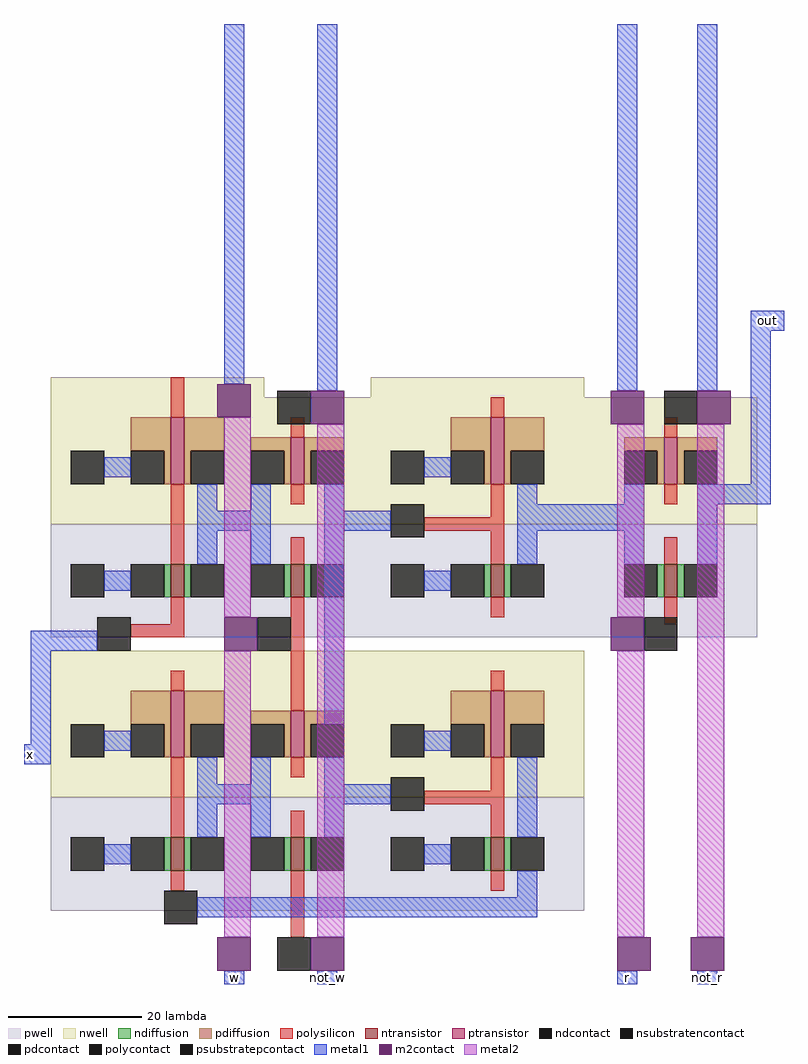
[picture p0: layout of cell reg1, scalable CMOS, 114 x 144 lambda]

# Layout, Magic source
magic
tech scmos
<< metal1 >>
rect 30 91 33 144
rect 44 91 47 144
rect 89 91 92 144
rect 101 91 104 144
rect 109 98 114 101
rect 109 72 112 98
rect 1 36 4 53
rect 0 33 4 36
rect 30 0 33 2
rect 44 0 47 2
rect 89 0 92 2
use reg  reg_0
transform 1 0 4 0 1 9
box 0 -9 106 82
<< labels >>
rlabel metal1 109 98 114 101 7 out
rlabel metal1 89 0 92 2 1 r
rlabel space 101 0 104 2 1 not_r
rlabel metal1 30 0 33 2 1 w
rlabel metal1 44 0 47 2 1 not_w
rlabel metal1 0 33 2 36 3 x
<< end >>

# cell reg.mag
magic
tech scmos
<< polysilicon >>
rect 18 78 20 82
rect 56 59 66 61
rect 18 45 20 47
rect 12 43 20 45
rect 36 40 38 47
rect 36 -2 38 1
<< polycontact >>
rect 34 75 39 80
rect 92 75 97 80
rect 51 58 56 63
rect 7 41 12 46
rect 31 41 36 46
rect 89 41 94 46
rect 34 -7 39 -2
<< metal1 >>
rect 26 81 29 82
rect 40 80 43 82
rect 85 80 88 82
rect 97 80 100 82
rect 97 63 106 66
rect 25 59 31 62
rect 44 59 51 62
rect 73 59 87 63
rect 0 41 7 44
rect 41 41 44 55
rect 26 -9 29 -7
rect 40 -9 43 -7
rect 85 -9 88 -7
rect 97 -9 100 -7
<< m2contact >>
rect 25 76 30 81
rect 39 75 44 80
rect 84 75 89 80
rect 97 75 102 80
rect 26 41 31 46
rect 84 41 89 46
rect 25 -7 30 -2
rect 39 -7 44 -2
rect 85 -7 90 -2
rect 96 -7 101 -2
<< metal2 >>
rect 26 46 30 76
rect 26 -2 30 41
rect 40 -2 44 75
rect 85 46 89 75
rect 85 -2 89 41
rect 97 -2 101 75
use inv  inv_0
transform 1 0 60 0 1 66
box -12 -23 20 16
use inv  inv_1
transform 1 0 12 0 1 66
box -12 -23 20 16
use stat  stat_0
transform 1 0 24 0 1 2
box -24 -2 56 39
use trans  trans_0
transform 1 0 33 0 1 65
box -9 -22 17 14
use trans  trans_1
transform 1 0 89 0 1 65
box -9 -22 17 14
<< labels >>
rlabel metal2 26 0 30 1 1 w
rlabel metal1 40 -8 43 -7 1 not_w
rlabel metal1 26 -8 29 -7 1 w
rlabel metal1 97 -8 100 -7 1 not_r
rlabel metal1 85 -8 88 -7 1 r
rlabel metal1 104 63 106 66 7 out
rlabel metal1 0 41 2 44 3 x
<< end >>

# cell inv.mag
magic
tech scmos
<< nwell >>
rect -12 -6 20 16
<< pwell >>
rect -12 -23 20 -6
<< ntransistor >>
rect 6 -17 8 -12
<< ptransistor >>
rect 6 0 8 10
<< ndiffusion >>
rect 5 -17 6 -12
rect 8 -17 9 -12
<< pdiffusion >>
rect 0 5 6 10
rect 5 0 6 5
rect 8 5 14 10
rect 8 0 9 5
<< ndcontact >>
rect 0 -17 5 -12
rect 9 -17 14 -12
<< pdcontact >>
rect 0 0 5 5
rect 9 0 14 5
<< psubstratepcontact >>
rect -9 -17 -4 -12
<< nsubstratencontact >>
rect -9 0 -4 5
<< polysilicon >>
rect 6 10 8 13
rect 6 -12 8 0
rect 6 -20 8 -17
<< metal1 >>
rect -4 1 0 4
rect 10 -12 13 0
rect -4 -16 0 -13
<< labels >>
rlabel metal1 -3 2 -2 3 1 Vdd!
rlabel metal1 -3 -15 -2 -14 1 GND!
<< end >>

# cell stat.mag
magic
tech scmos
<< nwell >>
rect 8 36 25 39
<< polysilicon >>
rect 12 32 14 39
rect 32 16 42 18
rect 12 -2 14 3
<< polycontact >>
rect 27 15 32 20
rect -7 -2 -2 3
<< metal1 >>
rect 17 28 20 39
rect 1 16 7 19
rect 20 16 27 19
rect 46 2 49 6
rect -2 -1 49 2
use inv  inv_0
transform 1 0 -12 0 1 23
box -12 -23 20 16
use inv  inv_1
transform 1 0 36 0 1 23
box -12 -23 20 16
use trans  trans_0
transform 1 0 9 0 1 22
box -9 -22 17 14
<< labels >>
rlabel polysilicon 12 37 14 39 5 w
rlabel polysilicon 12 -2 14 -1 1 not_w
rlabel metal1 18 38 20 39 5 x
<< end >>

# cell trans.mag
magic
tech scmos
<< nwell >>
rect -9 -5 17 14
<< pwell >>
rect -9 -22 17 -5
<< ntransistor >>
rect 3 -16 5 -11
<< ptransistor >>
rect 3 1 5 8
<< ndiffusion >>
rect 2 -16 3 -11
rect 5 -16 6 -11
<< pdiffusion >>
rect -3 6 3 8
rect 2 1 3 6
rect 5 6 11 8
rect 5 1 6 6
<< ndcontact >>
rect -3 -16 2 -11
rect 6 -16 11 -11
<< pdcontact >>
rect -3 1 2 6
rect 6 1 11 6
<< polysilicon >>
rect 3 8 5 11
rect 3 -2 5 1
rect 3 -11 5 -7
rect 3 -20 5 -16
<< metal1 >>
rect -3 -11 0 1
rect 8 -11 11 1
<< end >>
